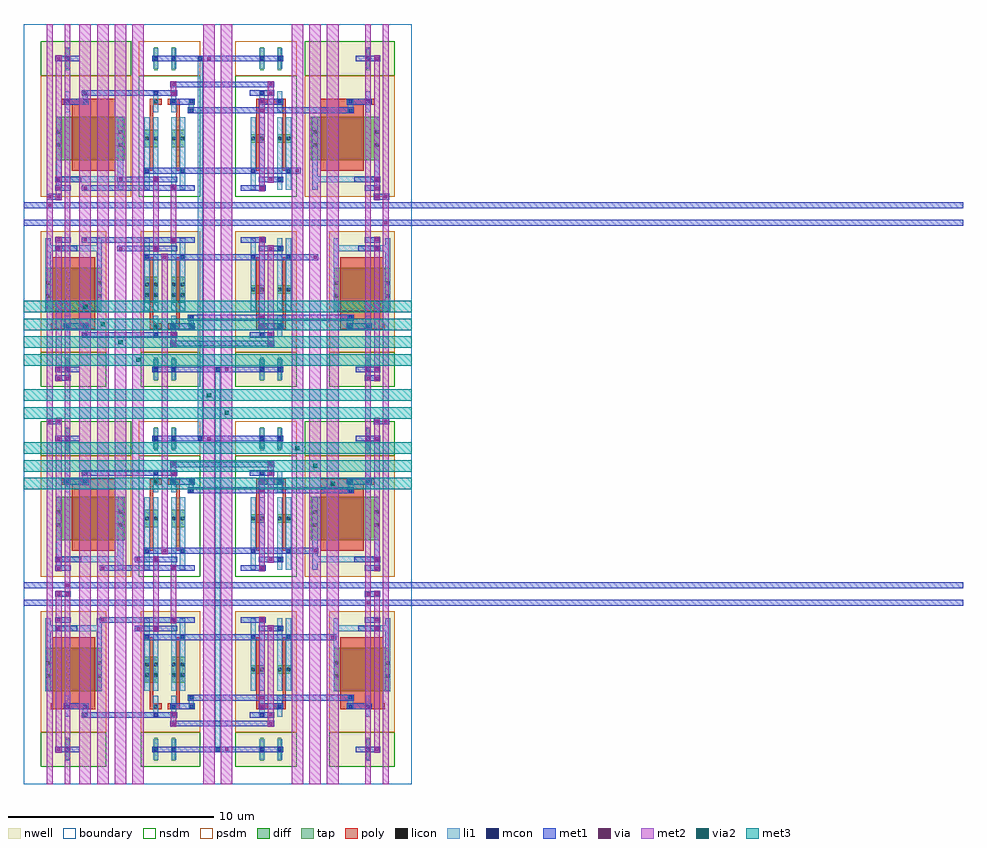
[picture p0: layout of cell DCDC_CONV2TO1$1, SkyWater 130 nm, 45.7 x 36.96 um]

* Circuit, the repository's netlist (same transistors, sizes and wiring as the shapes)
* 2:1 stage: PMOS SWITCH
.subckt DCDC_XSW_PMOS VPB clk clkb vIN vOUT0 vOUT1
x0 int_sw0 int_sw1 vIN VPB sky130_fd_pr__pfet_01v8 w=420000u l=150000u
x1 int_sw1 int_sw0 vIN VPB sky130_fd_pr__pfet_01v8 w=420000u l=150000u
x2 vOUT0 int_sw0 vIN VPB sky130_fd_pr__pfet_01v8 w=1260000u l=150000u
x3 vOUT1 int_sw1 vIN VPB sky130_fd_pr__pfet_01v8 w=1260000u l=150000u
x4 clkb int_sw0 clkb clkb sky130_fd_pr__pfet_01v8 w=2100000u l=2100000u
x5 clk int_sw1 clk clk sky130_fd_pr__pfet_01v8 w=2100000u l=2100000u
.ends DCDC_XSW_PMOS

* 2:1 stage: NMOS SWITCH
.subckt DCDC_XSW_NMOS VNB clk clkb vIN vOUT0 vOUT1
x0 int_sw0 int_sw1 vIN VNB sky130_fd_pr__nfet_01v8 w=420000u l=150000u
x1 int_sw1 int_sw0 vIN VNB sky130_fd_pr__nfet_01v8 w=420000u l=150000u
x2 vOUT0 int_sw0 vIN VNB sky130_fd_pr__nfet_01v8 w=840000u l=150000u
x3 vOUT1 int_sw1 vIN VNB sky130_fd_pr__nfet_01v8 w=840000u l=150000u
x4 clkb int_sw0 clkb clkb sky130_fd_pr__pfet_01v8 w=2100000u l=2100000u
x5 clk int_sw1 clk clk sky130_fd_pr__pfet_01v8 w=2100000u l=2100000u
.ends DCDC_XSW_NMOS

*2:1 converter: DCDC_HUNIT_CONV2to1
.subckt DCDC_HUNIT_CONV2to1 VGND VPWR clk0 clk0b clk1 clk1b y0 y1 vhigh vlow
x0 VPWR clk1b clk0b vhigh y0 y1 DCDC_XSW_PMOS
x1 VGND clk0 clk1 vlow y0 y1 DCDC_XSW_NMOS
.ends DCDC_HUNIT_CONV2to1

*2:1 converter: DCDC_CONV2TO1
.subckt DCDC_CONV2TO1 VGND VPWR clk0 clk0b clk1 clk1b y0_top y1_top y0_bot y1_bot vhigh vmid vlow
x0 VGND VPWR clk0 clk0b clk1 clk1b y0_top y1_top vhigh vmid DCDC_HUNIT_CONV2to1
x1 VGND VPWR clk0 clk0b clk1 clk1b y0_bot y1_bot vmid vlow DCDC_HUNIT_CONV2to1
.ends DCDC_CONV2TO1

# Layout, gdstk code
from math import pi, radians
import gdstk
lib = gdstk.Library(unit=1e-6, precision=1e-09)
def R(c, l, rs):  # rectangles x0, y0, x1, y1
    for r in rs: c.add(gdstk.rectangle(r[:2], r[2:], *l))
def A(c, l, x, y, w, h, nx, ny, dx, dy):  # array of equal rectangles
    R(c, l, [(x+i*dx, y+j*dy, x+i*dx+w, y+j*dy+h) for i in range(nx) for j in range(ny)])
nwell = (64, 20)
diff = (65, 20)
tap = (65, 44)
poly = (66, 20)
licon = (66, 44)
li1 = (67, 20)
mcon = (67, 44)
met1 = (68, 20)
via = (68, 44)
met2 = (69, 20)
via2 = (69, 44)
met3 = (70, 20)
nsdm = (93, 44)
psdm = (94, 20)
boundary = (235, 4)

ccp_pmos_b_88242555_x1__ = lib.new_cell('CCP_PMOS_B_88242555_X1__44b71c81$1')
R(ccp_pmos_b_88242555_x1__, nwell, [(0,0,2.99,7.56)])
R(ccp_pmos_b_88242555_x1__, diff, [(0.735,2.625,1.415,3.045), (2.025,2.625,2.705,3.045)])
R(ccp_pmos_b_88242555_x1__, tap, [(1.205,6.16,1.375,7.28), (2.065,6.16,2.235,7.28)])
R(ccp_pmos_b_88242555_x1__, poly, [(1,1.26,1.15,4.62), (2.29,1.26,2.44,4.62), (1,4.485,1.58,4.755), (1.86,4.485,2.44,4.755)])
R(ccp_pmos_b_88242555_x1__, licon, [(0.775,2.745,0.945,2.915), (1.205,2.745,1.375,2.915), (2.065,2.745,2.235,2.915), (2.495,2.745,2.665,2.915), (1.205,4.535,1.375,4.705), (2.065,4.535,2.235,4.705), (1.205,6.635,1.375,6.805), (2.065,6.635,2.235,6.805)])
R(ccp_pmos_b_88242555_x1__, li1, [(0.735,0.335,0.985,3.865), (1.165,0.335,1.415,3.865), (2.025,0.335,2.275,3.865), (2.455,0.335,2.705,3.865), (1.165,4.115,1.415,5.125), (2.025,4.115,2.275,5.125), (1.165,6.215,1.415,7.225), (2.025,6.215,2.275,7.225)])
R(ccp_pmos_b_88242555_x1__, mcon, [(1.205,0.335,1.375,0.505), (2.065,0.755,2.235,0.925), (0.775,1.175,0.945,1.345), (2.495,1.175,2.665,1.345), (2.065,4.535,2.235,4.705), (1.205,4.955,1.375,5.125), (1.205,6.635,1.375,6.805), (2.065,6.635,2.235,6.805)])
R(ccp_pmos_b_88242555_x1__, met1, [(0.26,0.28,1.46,0.56), (1.12,0.7,2.32,0.98), (0.69,1.12,2.75,1.4), (1.12,4.48,2.32,4.76), (0.69,4.9,1.89,5.18), (1.12,6.58,2.32,6.86)])
R(ccp_pmos_b_88242555_x1__, via, [(1.215,0.345,1.365,0.495), (1.645,0.765,1.795,0.915), (1.215,4.545,1.365,4.695), (1.645,4.965,1.795,5.115)])
R(ccp_pmos_b_88242555_x1__, met2, [(1.15,0.26,1.43,4.78), (1.58,0.68,1.86,5.2)])
R(ccp_pmos_b_88242555_x1__, nsdm, [(0,5.88,2.99,7.56)])
R(ccp_pmos_b_88242555_x1__, psdm, [(0,0,2.99,5.88)])

dp_pmos_b_25364157_x1_y_ = lib.new_cell('DP_PMOS_B_25364157_X1_Y_12b887c0$1')
R(dp_pmos_b_25364157_x1_y_, nwell, [(0,0,2.89,7.56)])
R(dp_pmos_b_25364157_x1_y_, diff, [(0.735,2.205,1.415,3.465), (2.025,2.205,2.705,3.465)])
R(dp_pmos_b_25364157_x1_y_, tap, [(1.205,6.16,1.375,7.28), (2.065,6.16,2.235,7.28)])
R(dp_pmos_b_25364157_x1_y_, poly, [(1,1.26,1.15,4.62), (2.29,1.26,2.44,4.62), (1,4.485,1.58,4.755), (1.86,4.485,2.44,4.755)])
R(dp_pmos_b_25364157_x1_y_, licon, [(0.775,2.515,0.945,2.685), (1.205,2.515,1.375,2.685), (2.065,2.515,2.235,2.685), (2.495,2.515,2.665,2.685), (0.775,3.005,0.945,3.175), (1.205,3.005,1.375,3.175), (2.065,3.005,2.235,3.175), (2.495,3.005,2.665,3.175), (1.205,4.535,1.375,4.705), (2.065,4.535,2.235,4.705), (1.205,6.635,1.375,6.805), (2.065,6.635,2.235,6.805)])
R(dp_pmos_b_25364157_x1_y_, li1, [(0.735,0.335,0.985,3.865), (1.165,0.335,1.415,3.865), (2.025,0.335,2.275,3.865), (2.455,0.335,2.705,3.865), (1.165,4.115,1.415,5.125), (2.025,4.115,2.275,5.125), (1.165,6.215,1.415,7.225), (2.025,6.215,2.275,7.225)])
R(dp_pmos_b_25364157_x1_y_, mcon, [(1.205,0.335,1.375,0.505), (2.065,0.755,2.235,0.925), (0.775,1.175,0.945,1.345), (2.495,1.175,2.665,1.345), (1.205,4.535,1.375,4.705), (2.065,4.955,2.235,5.125), (1.205,6.635,1.375,6.805), (2.065,6.635,2.235,6.805)])
R(dp_pmos_b_25364157_x1_y_, met1, [(0.26,0.28,1.46,0.56), (1.12,0.7,2.32,0.98), (0.69,1.12,2.75,1.4), (0.26,4.48,1.46,4.76), (1.12,4.9,2.32,5.18), (1.12,6.58,2.32,6.86)])
R(dp_pmos_b_25364157_x1_y_, nsdm, [(0,5.88,2.89,7.56)])
R(dp_pmos_b_25364157_x1_y_, psdm, [(0,0,2.89,5.88)])

dcap_pmos_98843368_x1_y_ = lib.new_cell('DCAP_PMOS_98843368_X1_Y_f9c0cc87$1')
R(dcap_pmos_98843368_x1_y_, nwell, [(-0.59,0,2.58,7.56)])
R(dcap_pmos_98843368_x1_y_, diff, [(-0.385,1.785,2.365,3.885)])
R(dcap_pmos_98843368_x1_y_, tap, [(1.205,6.16,1.375,7.28)])
R(dcap_pmos_98843368_x1_y_, poly, [(-0.065,1.26,2.035,4.62), (-0.06,4.485,2.1,4.755)])
R(dcap_pmos_98843368_x1_y_, licon, [(-0.335,2.435,-0.165,2.605), (2.155,2.435,2.325,2.605), (-0.335,3.065,-0.165,3.235), (2.155,3.065,2.325,3.235), (1.205,4.535,1.375,4.705), (1.205,6.635,1.375,6.805)])
R(dcap_pmos_98843368_x1_y_, li1, [(-0.385,0.335,-0.135,3.865), (2.115,0.335,2.365,3.865), (1.165,4.115,1.415,5.125), (1.165,6.215,1.415,7.225)])
R(dcap_pmos_98843368_x1_y_, mcon, [(1.635,0.755,1.805,0.925), (1.205,4.535,1.375,4.705), (1.205,6.635,1.375,6.805)])
R(dcap_pmos_98843368_x1_y_, met1, [(1.12,0.28,1.89,0.56), (0.82,0.7,1.89,0.98), (0.26,4.48,1.46,4.76), (0.69,6.58,1.89,6.86)])
R(dcap_pmos_98843368_x1_y_, via, [(1.645,0.345,1.795,0.495), (1.645,0.765,1.795,0.915), (1.645,6.645,1.795,6.795)])
R(dcap_pmos_98843368_x1_y_, met2, [(1.58,0.26,1.86,6.88)])
R(dcap_pmos_98843368_x1_y_, nsdm, [(-0.59,5.88,2.58,7.56)])
R(dcap_pmos_98843368_x1_y_, psdm, [(-0.59,0,2.58,5.88)])
dcap_pmos_98843368_x1_y_.add(gdstk.FlexPath([(-0.38,0.83),(2.37,0.83)], 0.28, ends="flush", simple_path=True, layer=67, datatype=20))  # li1

dcdc_xsw_pmos_0_1650326_ = lib.new_cell('DCDC_XSW_PMOS_0_1650326_40a43b21$1')
R(dcdc_xsw_pmos_0_1650326_, li1, [(7.185,4.115,7.435,4.285), (7.185,4.115,7.435,4.285), (7.185,4.115,7.435,4.285), (14.925,4.115,15.175,4.285), (14.925,4.115,15.175,4.285), (7.185,4.2,7.435,4.62), (14.925,4.2,15.175,4.62), (2.025,4.535,2.275,4.705), (2.025,4.535,2.275,4.705), (7.185,4.535,7.435,4.705), (7.185,4.535,7.435,4.705), (7.185,4.535,7.435,4.705), (14.925,4.535,15.175,4.705), (14.925,4.535,15.175,4.705), (2.025,4.62,2.275,5.04), (2.025,4.955,2.275,5.125), (2.025,4.955,2.275,5.125)])
R(dcdc_xsw_pmos_0_1650326_, mcon, [(7.225,4.115,7.395,4.285), (7.225,4.115,7.395,4.285), (7.225,4.115,7.395,4.285), (14.965,4.115,15.135,4.285), (14.965,4.115,15.135,4.285), (2.065,4.535,2.235,4.705), (2.065,4.535,2.235,4.705), (7.225,4.535,7.395,4.705), (7.225,4.535,7.395,4.705), (7.225,4.535,7.395,4.705), (14.965,4.535,15.135,4.705), (14.965,4.535,15.135,4.705), (2.065,4.955,2.235,5.125), (2.065,4.955,2.235,5.125)])
R(dcdc_xsw_pmos_0_1650326_, met1, [(6.88,1.12,10.32,1.4), (7.14,4.06,7.48,4.34), (7.14,4.06,7.48,4.34), (7.14,4.06,7.48,4.34), (7.31,4.06,10.75,4.34), (10.59,4.06,10.91,4.34), (10.59,4.06,10.91,4.34), (10.59,4.06,10.91,4.34), (10.75,4.06,15.05,4.34), (14.88,4.06,15.22,4.34), (14.88,4.06,15.22,4.34), (1.98,4.48,2.32,4.76), (1.98,4.48,2.32,4.76), (7.14,4.48,7.48,4.76), (7.14,4.48,7.48,4.76), (7.14,4.48,7.48,4.76), (14.88,4.48,15.22,4.76), (14.88,4.48,15.22,4.76), (1.98,4.9,2.32,5.18), (1.98,4.9,2.32,5.18), (2.15,4.9,5.59,5.18), (6.29,4.9,6.61,5.18), (6.29,4.9,6.61,5.18), (6.29,4.9,6.61,5.18), (6.29,5.32,6.61,5.6), (6.29,5.32,6.61,5.6), (6.29,5.32,6.61,5.6), (6.45,5.32,11.18,5.6), (11.02,5.32,11.34,5.6), (11.02,5.32,11.34,5.6), (11.02,5.32,11.34,5.6), (6.45,6.58,10.75,6.86)])
R(dcdc_xsw_pmos_0_1650326_, via, [(10.675,4.125,10.825,4.275), (10.675,4.125,10.825,4.275), (10.675,4.125,10.825,4.275), (6.375,4.965,6.525,5.115), (6.375,4.965,6.525,5.115), (6.375,4.965,6.525,5.115), (6.375,5.385,6.525,5.535), (6.375,5.385,6.525,5.535), (6.375,5.385,6.525,5.535), (11.105,5.385,11.255,5.535), (11.105,5.385,11.255,5.535), (11.105,5.385,11.255,5.535)])
R(dcdc_xsw_pmos_0_1650326_, met2, [(10.61,4.04,10.89,4.36), (10.61,4.04,10.89,4.36), (10.61,4.04,10.89,4.36), (6.31,4.88,6.59,5.2), (6.31,4.88,6.59,5.2), (6.31,4.88,6.59,5.2), (6.31,5.04,6.59,5.46), (11.04,5.04,11.32,5.46), (6.31,5.3,6.59,5.62), (6.31,5.3,6.59,5.62), (6.31,5.3,6.59,5.62), (11.04,5.3,11.32,5.62), (11.04,5.3,11.32,5.62), (11.04,5.3,11.32,5.62)])
dcdc_xsw_pmos_0_1650326_.add(gdstk.Reference(ccp_pmos_b_88242555_x1__, (9.46,0)))
dcdc_xsw_pmos_0_1650326_.add(gdstk.Reference(dp_pmos_b_25364157_x1_y_, (7.74,0), rotation=pi, x_reflection=True))
dcdc_xsw_pmos_0_1650326_.add(gdstk.Reference(dcap_pmos_98843368_x1_y_, (14.62,0)))
dcdc_xsw_pmos_0_1650326_.add(gdstk.Reference(dcap_pmos_98843368_x1_y_, (2.58,0), rotation=pi, x_reflection=True))

ccp_nmos_b_82699349_x1__ = lib.new_cell('CCP_NMOS_B_82699349_X1__3a37f603$1')
R(ccp_nmos_b_82699349_x1__, diff, [(0.735,2.625,1.415,3.045), (2.025,2.625,2.705,3.045)])
R(ccp_nmos_b_82699349_x1__, tap, [(1.205,6.16,1.375,7.28), (2.065,6.16,2.235,7.28)])
R(ccp_nmos_b_82699349_x1__, poly, [(1,1.26,1.15,4.62), (2.29,1.26,2.44,4.62), (1,4.485,1.58,4.755), (1.86,4.485,2.44,4.755)])
R(ccp_nmos_b_82699349_x1__, licon, [(0.775,2.745,0.945,2.915), (0.775,2.745,0.945,2.915), (1.205,2.745,1.375,2.915), (2.065,2.745,2.235,2.915), (2.495,2.745,2.665,2.915), (1.205,4.535,1.375,4.705), (2.065,4.535,2.235,4.705), (1.205,6.635,1.375,6.805), (2.065,6.635,2.235,6.805)])
R(ccp_nmos_b_82699349_x1__, li1, [(0.735,0.335,0.985,3.865), (1.165,0.335,1.415,3.865), (2.025,0.335,2.275,3.865), (2.455,0.335,2.705,3.865), (1.165,4.115,1.415,5.125), (2.025,4.115,2.275,5.125), (1.165,6.215,1.415,7.225), (2.025,6.215,2.275,7.225)])
R(ccp_nmos_b_82699349_x1__, mcon, [(1.205,0.335,1.375,0.505), (2.065,0.755,2.235,0.925), (0.775,1.175,0.945,1.345), (2.495,1.175,2.665,1.345), (2.065,4.535,2.235,4.705), (1.205,4.955,1.375,5.125), (1.205,6.635,1.375,6.805), (2.065,6.635,2.235,6.805)])
R(ccp_nmos_b_82699349_x1__, met1, [(0.26,0.28,1.46,0.56), (1.12,0.7,2.32,0.98), (0.69,1.12,2.75,1.4), (1.12,4.48,2.32,4.76), (0.69,4.9,1.89,5.18), (1.12,6.58,2.32,6.86)])
R(ccp_nmos_b_82699349_x1__, via, [(1.215,0.345,1.365,0.495), (1.645,0.765,1.795,0.915), (1.215,4.545,1.365,4.695), (1.645,4.965,1.795,5.115)])
R(ccp_nmos_b_82699349_x1__, met2, [(1.15,0.26,1.43,4.78), (1.58,0.68,1.86,5.2)])
R(ccp_nmos_b_82699349_x1__, nsdm, [(0,0,2.98,5.88)])
R(ccp_nmos_b_82699349_x1__, psdm, [(0,5.88,2.98,7.56)])

dp_nmos_b_83449181_x1_y_ = lib.new_cell('DP_NMOS_B_83449181_X1_Y_edeae765$1')
R(dp_nmos_b_83449181_x1_y_, diff, [(0.735,2.415,1.415,3.255), (2.025,2.415,2.705,3.255)])
R(dp_nmos_b_83449181_x1_y_, tap, [(1.205,6.16,1.375,7.28), (2.065,6.16,2.235,7.28)])
R(dp_nmos_b_83449181_x1_y_, poly, [(1,1.26,1.15,4.62), (2.29,1.26,2.44,4.62), (1,4.485,1.58,4.755), (1.86,4.485,2.44,4.755)])
R(dp_nmos_b_83449181_x1_y_, licon, [(0.775,2.745,0.945,2.915), (1.205,2.745,1.375,2.915), (2.065,2.745,2.235,2.915), (2.495,2.745,2.665,2.915), (1.205,4.535,1.375,4.705), (2.065,4.535,2.235,4.705), (1.205,6.635,1.375,6.805), (2.065,6.635,2.235,6.805)])
R(dp_nmos_b_83449181_x1_y_, li1, [(0.735,0.335,0.985,3.865), (1.165,0.335,1.415,3.865), (2.025,0.335,2.275,3.865), (2.455,0.335,2.705,3.865), (1.165,4.115,1.415,5.125), (2.025,4.115,2.275,5.125), (1.165,6.215,1.415,7.225), (2.025,6.215,2.275,7.225)])
R(dp_nmos_b_83449181_x1_y_, mcon, [(1.205,0.335,1.375,0.505), (2.065,0.755,2.235,0.925), (0.775,1.175,0.945,1.345), (2.495,1.175,2.665,1.345), (1.205,4.535,1.375,4.705), (2.065,4.955,2.235,5.125), (1.205,6.635,1.375,6.805), (2.065,6.635,2.235,6.805)])
R(dp_nmos_b_83449181_x1_y_, met1, [(0.26,0.28,1.46,0.56), (1.12,0.7,2.32,0.98), (0.69,1.12,2.75,1.4), (0.26,4.48,1.46,4.76), (1.12,4.9,2.32,5.18), (1.12,6.58,2.32,6.86)])
R(dp_nmos_b_83449181_x1_y_, nsdm, [(0,0,2.98,5.88)])
R(dp_nmos_b_83449181_x1_y_, psdm, [(0,5.88,2.98,7.56)])

c_dcap_pmos_98843368_x1_y_ = lib.new_cell('DCAP_PMOS_98843368_X1_Y_1407ea6c$1')
R(c_dcap_pmos_98843368_x1_y_, nwell, [(-1.8,0,2.58,7.56)])
R(c_dcap_pmos_98843368_x1_y_, diff, [(-1.505,1.785,1.845,3.885)])
R(c_dcap_pmos_98843368_x1_y_, tap, [(1.205,6.16,1.375,7.28)])
R(c_dcap_pmos_98843368_x1_y_, poly, [(-1.025,1.26,1.075,4.62), (-1.03,4.485,1.58,4.755)])
R(c_dcap_pmos_98843368_x1_y_, licon, [(-1.375,2.435,-1.205,2.605), (1.635,2.435,1.805,2.605), (-1.375,3.065,-1.205,3.235), (1.635,3.065,1.805,3.235), (1.205,4.535,1.375,4.705), (1.205,6.635,1.375,6.805)])
R(c_dcap_pmos_98843368_x1_y_, li1, [(-1.415,0.335,-1.165,3.865), (1.595,0.335,1.845,3.865), (1.165,4.115,1.415,5.125), (1.165,6.215,1.415,7.225)])
R(c_dcap_pmos_98843368_x1_y_, mcon, [(1.635,0.755,1.805,0.925), (1.205,4.535,1.375,4.705), (1.205,6.635,1.375,6.805)])
R(c_dcap_pmos_98843368_x1_y_, met1, [(1.12,0.28,1.89,0.56), (0.61,0.7,1.89,0.98), (0.26,4.48,1.46,4.76), (0.69,6.58,1.89,6.86)])
R(c_dcap_pmos_98843368_x1_y_, via, [(1.645,0.345,1.795,0.495), (1.645,0.765,1.795,0.915), (1.645,6.645,1.795,6.795)])
R(c_dcap_pmos_98843368_x1_y_, met2, [(1.58,0.26,1.86,6.88)])
R(c_dcap_pmos_98843368_x1_y_, nsdm, [(-1.8,5.88,2.58,7.56)])
R(c_dcap_pmos_98843368_x1_y_, psdm, [(-1.8,0,2.58,5.88)])
c_dcap_pmos_98843368_x1_y_.add(gdstk.FlexPath([(-1.25,0.85),(1.84,0.85)], 0.28, ends="flush", simple_path=True, layer=67, datatype=20))  # li1

dcdc_xsw_nmos_0_1650326_ = lib.new_cell('DCDC_XSW_NMOS_0_1650326_24c8b01c$1')
R(dcdc_xsw_nmos_0_1650326_, li1, [(7.185,4.115,7.435,4.285), (7.185,4.115,7.435,4.285), (7.185,4.115,7.435,4.285), (14.925,4.115,15.175,4.285), (14.925,4.115,15.175,4.285), (7.185,4.2,7.435,4.62), (14.925,4.2,15.175,4.62), (2.025,4.535,2.275,4.705), (2.025,4.535,2.275,4.705), (7.185,4.535,7.435,4.705), (7.185,4.535,7.435,4.705), (7.185,4.535,7.435,4.705), (14.925,4.535,15.175,4.705), (14.925,4.535,15.175,4.705), (2.025,4.62,2.275,5.04), (2.025,4.955,2.275,5.125), (2.025,4.955,2.275,5.125)])
R(dcdc_xsw_nmos_0_1650326_, mcon, [(7.225,4.115,7.395,4.285), (7.225,4.115,7.395,4.285), (7.225,4.115,7.395,4.285), (14.965,4.115,15.135,4.285), (14.965,4.115,15.135,4.285), (2.065,4.535,2.235,4.705), (2.065,4.535,2.235,4.705), (7.225,4.535,7.395,4.705), (7.225,4.535,7.395,4.705), (7.225,4.535,7.395,4.705), (14.965,4.535,15.135,4.705), (14.965,4.535,15.135,4.705), (2.065,4.955,2.235,5.125), (2.065,4.955,2.235,5.125)])
R(dcdc_xsw_nmos_0_1650326_, met1, [(6.88,1.12,10.32,1.4), (7.14,4.06,7.48,4.34), (7.14,4.06,7.48,4.34), (7.14,4.06,7.48,4.34), (7.31,4.06,10.75,4.34), (10.59,4.06,10.91,4.34), (10.59,4.06,10.91,4.34), (10.59,4.06,10.91,4.34), (10.75,4.06,15.05,4.34), (14.88,4.06,15.22,4.34), (14.88,4.06,15.22,4.34), (1.98,4.48,2.32,4.76), (1.98,4.48,2.32,4.76), (7.14,4.48,7.48,4.76), (7.14,4.48,7.48,4.76), (7.14,4.48,7.48,4.76), (14.88,4.48,15.22,4.76), (14.88,4.48,15.22,4.76), (1.98,4.9,2.32,5.18), (1.98,4.9,2.32,5.18), (2.15,4.9,5.59,5.18), (6.29,4.9,6.61,5.18), (6.29,4.9,6.61,5.18), (6.29,4.9,6.61,5.18), (6.29,5.32,6.61,5.6), (6.29,5.32,6.61,5.6), (6.29,5.32,6.61,5.6), (6.45,5.32,11.18,5.6), (11.02,5.32,11.34,5.6), (11.02,5.32,11.34,5.6), (11.02,5.32,11.34,5.6), (6.45,6.58,10.75,6.86)])
R(dcdc_xsw_nmos_0_1650326_, via, [(10.675,4.125,10.825,4.275), (10.675,4.125,10.825,4.275), (10.675,4.125,10.825,4.275), (6.375,4.965,6.525,5.115), (6.375,4.965,6.525,5.115), (6.375,4.965,6.525,5.115), (6.375,5.385,6.525,5.535), (6.375,5.385,6.525,5.535), (6.375,5.385,6.525,5.535), (11.105,5.385,11.255,5.535), (11.105,5.385,11.255,5.535), (11.105,5.385,11.255,5.535)])
R(dcdc_xsw_nmos_0_1650326_, met2, [(10.61,4.04,10.89,4.36), (10.61,4.04,10.89,4.36), (10.61,4.04,10.89,4.36), (6.31,4.88,6.59,5.2), (6.31,4.88,6.59,5.2), (6.31,4.88,6.59,5.2), (6.31,5.04,6.59,5.46), (11.04,5.04,11.32,5.46), (6.31,5.3,6.59,5.62), (6.31,5.3,6.59,5.62), (6.31,5.3,6.59,5.62), (11.04,5.3,11.32,5.62), (11.04,5.3,11.32,5.62), (11.04,5.3,11.32,5.62)])
dcdc_xsw_nmos_0_1650326_.add(gdstk.Reference(ccp_nmos_b_82699349_x1__, (9.46,0)))
dcdc_xsw_nmos_0_1650326_.add(gdstk.Reference(dp_nmos_b_83449181_x1_y_, (7.74,0), rotation=pi, x_reflection=True))
dcdc_xsw_nmos_0_1650326_.add(gdstk.Reference(c_dcap_pmos_98843368_x1_y_, (14.62,0)))
dcdc_xsw_nmos_0_1650326_.add(gdstk.Reference(c_dcap_pmos_98843368_x1_y_, (2.58,0), rotation=pi, x_reflection=True))

dcdc_hunit_conv2to1_0_1_ = lib.new_cell('DCDC_HUNIT_CONV2TO1_0_1_73a3675f$1')
R(dcdc_hunit_conv2to1_0_1_, met1, [(5.43,6.58,5.75,6.86), (5.43,6.58,5.75,6.86), (6.29,7,6.61,7.28), (6.29,7,6.61,7.28), (6.29,9.52,6.61,9.8), (6.29,9.52,6.61,9.8), (5.43,9.94,5.75,10.22), (5.43,9.94,5.75,10.22)])
R(dcdc_hunit_conv2to1_0_1_, via, [(5.515,6.645,5.665,6.795), (5.515,6.645,5.665,6.795), (6.375,7.065,6.525,7.215), (6.375,7.065,6.525,7.215), (6.375,9.585,6.525,9.735), (6.375,9.585,6.525,9.735), (5.515,10.005,5.665,10.155), (5.515,10.005,5.665,10.155)])
R(dcdc_hunit_conv2to1_0_1_, met2, [(5.45,6.56,5.73,6.88), (5.45,6.56,5.73,6.88), (5.45,6.72,5.73,10.08), (6.31,6.98,6.59,7.3), (6.31,6.98,6.59,7.3), (6.31,7.14,6.59,9.66), (6.31,9.5,6.59,9.82), (6.31,9.5,6.59,9.82), (5.45,9.92,5.73,10.24), (5.45,9.92,5.73,10.24)])
dcdc_hunit_conv2to1_0_1_.add(gdstk.Reference(dcdc_xsw_pmos_0_1650326_, (0,7.56), x_reflection=True))
dcdc_hunit_conv2to1_0_1_.add(gdstk.Reference(dcdc_xsw_nmos_0_1650326_, (0,9.24)))

dcdc_conv2to1_0_16503260 = lib.new_cell('DCDC_CONV2TO1_0_1650326046$1')
R(dcdc_conv2to1_0_16503260, li1, [(8.475,0.755,8.725,0.925), (8.475,0.755,8.725,0.925), (8.475,0.84,8.725,19.32), (7.615,15.875,7.865,16.045), (7.615,15.875,7.865,16.045), (7.615,15.96,7.865,34.44), (8.475,19.235,8.725,19.405), (8.475,19.235,8.725,19.405), (7.615,34.355,7.865,34.525), (7.615,34.355,7.865,34.525)])
R(dcdc_conv2to1_0_16503260, mcon, [(8.515,0.755,8.685,0.925), (8.515,0.755,8.685,0.925), (7.655,15.875,7.825,16.045), (7.655,15.875,7.825,16.045), (8.515,19.235,8.685,19.405), (8.515,19.235,8.685,19.405), (7.655,34.355,7.825,34.525), (7.655,34.355,7.825,34.525)])
R(dcdc_conv2to1_0_16503260, met1, [(8.43,0.7,8.77,0.98), (8.43,0.7,8.77,0.98), (0.7,8.26,1.02,8.54), (0.7,8.26,1.02,8.54), (0.86,8.26,1.29,8.54), (1.13,8.26,1.45,8.54), (1.13,8.26,1.45,8.54), (15.75,8.26,16.07,8.54), (15.75,8.26,16.07,8.54), (15.91,8.26,16.34,8.54), (16.18,8.26,16.5,8.54), (16.18,8.26,16.5,8.54), (5.86,10.36,6.18,10.64), (5.86,10.36,6.18,10.64), (7.57,15.82,7.91,16.1), (7.57,15.82,7.91,16.1), (0.27,16.66,0.59,16.94), (0.27,16.66,0.59,16.94), (0.43,16.66,0.86,16.94), (0.7,16.66,1.02,16.94), (0.7,16.66,1.02,16.94), (16.18,16.66,16.5,16.94), (16.18,16.66,16.5,16.94), (16.34,16.66,16.77,16.94), (16.61,16.66,16.93,16.94), (16.61,16.66,16.93,16.94), (0.7,18.76,1.02,19.04), (0.7,18.76,1.02,19.04), (0.86,18.76,1.29,19.04), (1.13,18.76,1.45,19.04), (1.13,18.76,1.45,19.04), (15.75,18.76,16.07,19.04), (15.75,18.76,16.07,19.04), (15.91,18.76,16.34,19.04), (16.18,18.76,16.5,19.04), (16.18,18.76,16.5,19.04), (8.43,19.18,8.77,19.46), (8.43,19.18,8.77,19.46), (5.86,24.64,6.18,24.92), (5.86,24.64,6.18,24.92), (0.27,27.58,0.59,27.86), (0.27,27.58,0.59,27.86), (0.43,27.58,0.86,27.86), (0.7,27.58,1.02,27.86), (0.7,27.58,1.02,27.86), (16.18,27.58,16.5,27.86), (16.18,27.58,16.5,27.86), (16.34,27.58,16.77,27.86), (16.61,27.58,16.93,27.86), (16.61,27.58,16.93,27.86), (7.57,34.3,7.91,34.58), (7.57,34.3,7.91,34.58)])
R(dcdc_conv2to1_0_16503260, via, [(0.785,8.325,0.935,8.475), (0.785,8.325,0.935,8.475), (1.215,8.325,1.365,8.475), (1.215,8.325,1.365,8.475), (15.835,8.325,15.985,8.475), (15.835,8.325,15.985,8.475), (16.265,8.325,16.415,8.475), (16.265,8.325,16.415,8.475), (5.945,10.425,6.095,10.575), (5.945,10.425,6.095,10.575), (0.355,16.725,0.505,16.875), (0.355,16.725,0.505,16.875), (0.785,16.725,0.935,16.875), (0.785,16.725,0.935,16.875), (16.265,16.725,16.415,16.875), (16.265,16.725,16.415,16.875), (16.695,16.725,16.845,16.875), (16.695,16.725,16.845,16.875), (0.785,18.825,0.935,18.975), (0.785,18.825,0.935,18.975), (1.215,18.825,1.365,18.975), (1.215,18.825,1.365,18.975), (15.835,18.825,15.985,18.975), (15.835,18.825,15.985,18.975), (16.265,18.825,16.415,18.975), (16.265,18.825,16.415,18.975), (5.945,24.705,6.095,24.855), (5.945,24.705,6.095,24.855), (0.355,27.645,0.505,27.795), (0.355,27.645,0.505,27.795), (0.785,27.645,0.935,27.795), (0.785,27.645,0.935,27.795), (16.265,27.645,16.415,27.795), (16.265,27.645,16.415,27.795), (16.695,27.645,16.845,27.795), (16.695,27.645,16.845,27.795)])
R(dcdc_conv2to1_0_16503260, met2, [(0.72,7.14,1,8.4), (16.2,7.14,16.48,8.4), (0.72,8.24,1,8.56), (0.72,8.24,1,8.56), (1.15,8.24,1.43,8.56), (1.15,8.24,1.43,8.56), (15.77,8.24,16.05,8.56), (15.77,8.24,16.05,8.56), (16.2,8.24,16.48,8.56), (16.2,8.24,16.48,8.56), (1.15,8.4,1.43,18.9), (15.77,8.4,16.05,18.9), (5.88,10.34,6.16,10.66), (5.88,10.34,6.16,10.66), (5.88,10.5,6.16,24.78), (0.72,15.96,1,16.8), (16.2,15.96,16.48,16.8), (0.29,16.64,0.57,16.96), (0.29,16.64,0.57,16.96), (0.72,16.64,1,16.96), (0.72,16.64,1,16.96), (16.2,16.64,16.48,16.96), (16.2,16.64,16.48,16.96), (16.63,16.64,16.91,16.96), (16.63,16.64,16.91,16.96), (0.29,16.8,0.57,27.72), (16.63,16.8,16.91,27.72), (0.72,18.74,1,19.06), (0.72,18.74,1,19.06), (1.15,18.74,1.43,19.06), (1.15,18.74,1.43,19.06), (15.77,18.74,16.05,19.06), (15.77,18.74,16.05,19.06), (16.2,18.74,16.48,19.06), (16.2,18.74,16.48,19.06), (0.72,18.9,1,19.32), (16.2,18.9,16.48,19.32), (5.88,24.62,6.16,24.94), (5.88,24.62,6.16,24.94), (0.29,27.56,0.57,27.88), (0.29,27.56,0.57,27.88), (0.72,27.56,1,27.88), (0.72,27.56,1,27.88), (16.2,27.56,16.48,27.88), (16.2,27.56,16.48,27.88), (16.63,27.56,16.91,27.88), (16.63,27.56,16.91,27.88), (0.72,27.72,1,28.14), (16.2,27.72,16.48,28.14)])
dcdc_conv2to1_0_16503260.add(gdstk.Reference(dcdc_hunit_conv2to1_0_1_, (0,0)))
dcdc_conv2to1_0_16503260.add(gdstk.Reference(dcdc_hunit_conv2to1_0_1_, (0,18.48)))

conv21_0_1 = lib.new_cell('CONV21_0$1')
conv21_0_1.add(gdstk.Reference(dcdc_conv2to1_0_16503260, (0,0)))

dcdc_conv2to1_1 = lib.new_cell('DCDC_CONV2TO1$1')
R(dcdc_conv2to1_1, met1, [(9.71,1.54,10.03,1.82), (9.71,1.54,10.03,1.82), (9.71,1.54,10.03,1.82), (13.05,7,15.19,7.28), (14.87,7,15.19,7.28), (14.87,7,15.19,7.28), (5.41,7.42,6.26,7.7), (5.41,7.42,5.73,7.7), (5.41,7.42,5.73,7.7), (3.69,7.84,4.01,8.12), (3.69,7.84,4.01,8.12), (3.69,7.84,7.12,8.12), (0,8.68,45.695,8.96), (16.59,8.68,16.91,8.96), (16.59,8.68,16.91,8.96), (0,9.52,45.695,9.8), (1.97,9.52,2.29,9.8), (1.97,9.52,2.29,9.8), (3.69,10.36,4.01,10.64), (3.69,10.36,4.01,10.64), (3.69,10.36,7.12,10.64), (5.41,10.78,6.26,11.06), (5.41,10.78,5.73,11.06), (5.41,10.78,5.73,11.06), (12.19,11.2,14.33,11.48), (14.01,11.2,14.33,11.48), (14.01,11.2,14.33,11.48), (8.85,16.66,9.17,16.94), (8.85,16.66,9.17,16.94), (8.85,16.66,9.17,16.94), (9.71,20.02,10.03,20.3), (9.71,20.02,10.03,20.3), (9.71,20.02,10.03,20.3), (12.19,25.48,14.33,25.76), (14.01,25.48,14.33,25.76), (14.01,25.48,14.33,25.76), (4.55,25.9,4.87,26.18), (4.55,25.9,4.87,26.18), (4.55,25.9,6.26,26.18), (2.83,26.32,3.15,26.6), (2.83,26.32,3.15,26.6), (2.83,26.32,3.15,26.6), (2.83,26.32,3.15,26.6), (2.83,26.32,4.54,26.6), (2.83,26.32,7.12,26.6), (0,27.16,17.61,27.44), (17.45,27.16,17.77,27.44), (17.45,27.16,45.695,27.44), (0,28,1.43,28.28), (1.11,28,1.43,28.28), (1.27,28,45.695,28.28), (2.83,28.84,3.15,29.12), (2.83,28.84,3.15,29.12), (2.83,28.84,3.15,29.12), (2.83,28.84,3.15,29.12), (2.83,28.84,4.54,29.12), (2.83,28.84,7.12,29.12), (4.55,29.26,4.87,29.54), (4.55,29.26,4.87,29.54), (4.55,29.26,4.87,29.54), (4.55,29.26,4.87,29.54), (4.55,29.26,6.26,29.54), (4.55,29.26,6.26,29.54), (13.05,29.68,13.47,29.96), (13.15,29.68,13.47,29.96), (13.15,29.68,13.47,29.96), (8.85,35.14,9.17,35.42), (8.85,35.14,9.17,35.42), (8.85,35.14,9.17,35.42)])
R(dcdc_conv2to1_1, via, [(9.795,1.605,9.945,1.755), (9.795,1.605,9.945,1.755), (9.795,1.605,9.945,1.755), (14.955,7.065,15.105,7.215), (14.955,7.065,15.105,7.215), (5.495,7.485,5.645,7.635), (5.495,7.485,5.645,7.635), (3.775,7.905,3.925,8.055), (3.775,7.905,3.925,8.055), (16.675,8.745,16.825,8.895), (16.675,8.745,16.825,8.895), (2.055,9.585,2.205,9.735), (2.055,9.585,2.205,9.735), (3.775,10.425,3.925,10.575), (3.775,10.425,3.925,10.575), (5.495,10.845,5.645,10.995), (5.495,10.845,5.645,10.995), (14.095,11.265,14.245,11.415), (14.095,11.265,14.245,11.415), (8.935,16.725,9.085,16.875), (8.935,16.725,9.085,16.875), (8.935,16.725,9.085,16.875), (9.795,20.085,9.945,20.235), (9.795,20.085,9.945,20.235), (9.795,20.085,9.945,20.235), (14.095,25.545,14.245,25.695), (14.095,25.545,14.245,25.695), (4.635,25.965,4.785,26.115), (4.635,25.965,4.785,26.115), (2.915,26.385,3.065,26.535), (2.915,26.385,3.065,26.535), (2.915,26.385,3.065,26.535), (2.915,26.385,3.065,26.535), (17.535,27.225,17.685,27.375), (17.535,27.225,17.685,27.375), (1.195,28.065,1.345,28.215), (1.195,28.065,1.345,28.215), (2.915,28.905,3.065,29.055), (2.915,28.905,3.065,29.055), (2.915,28.905,3.065,29.055), (2.915,28.905,3.065,29.055), (4.635,29.325,4.785,29.475), (4.635,29.325,4.785,29.475), (4.635,29.325,4.785,29.475), (4.635,29.325,4.785,29.475), (13.235,29.745,13.385,29.895), (13.235,29.745,13.385,29.895), (8.935,35.205,9.085,35.355), (8.935,35.205,9.085,35.355), (8.935,35.205,9.085,35.355)])
A(dcdc_conv2to1_1, met2, 2.71, 0, 0.56, 36.96, 4, 1, 0.86, 0)
A(dcdc_conv2to1_1, met2, 13.03, 0, 0.56, 36.96, 3, 1, 0.86, 0)
R(dcdc_conv2to1_1, met2, [(1.13,0,1.41,17.48), (1.99,0,2.27,9.08), (8.73,0,9.29,36.96), (9.59,0,10.15,36.96), (16.61,0,16.89,9.08), (17.47,0,17.75,17.48), (9.73,1.52,10.01,1.84), (9.73,1.52,10.01,1.84), (9.73,1.52,10.01,1.84), (14.89,6.98,15.17,7.3), (14.89,6.98,15.17,7.3), (5.43,7.4,5.71,7.72), (5.43,7.4,5.71,7.72), (3.71,7.82,3.99,8.14), (3.71,7.82,3.99,8.14), (16.61,8.66,16.89,8.98), (16.61,8.66,16.89,8.98), (1.99,9.5,2.27,9.82), (1.99,9.5,2.27,9.82), (3.71,10.34,3.99,10.66), (3.71,10.34,3.99,10.66), (5.43,10.76,5.71,11.08), (5.43,10.76,5.71,11.08), (14.03,11.18,14.31,11.5), (14.03,11.18,14.31,11.5), (8.87,16.64,9.15,16.96), (8.87,16.64,9.15,16.96), (8.87,16.64,9.15,16.96), (1.99,19.9,2.27,36.96), (16.61,19.9,16.89,36.96), (9.73,20,10.01,20.32), (9.73,20,10.01,20.32), (9.73,20,10.01,20.32), (14.03,25.46,14.31,25.78), (14.03,25.46,14.31,25.78), (2.85,26.3,3.13,26.62), (2.85,26.3,3.13,26.62), (2.85,26.3,3.13,26.62), (2.85,26.3,3.13,26.62), (17.47,27.14,17.75,27.46), (17.47,27.14,17.75,27.46), (1.13,27.98,1.41,28.3), (1.13,27.98,1.41,28.3), (1.13,28.72,1.41,36.96), (17.47,28.72,17.75,36.96), (2.85,28.82,3.13,29.14), (2.85,28.82,3.13,29.14), (2.85,28.82,3.13,29.14), (2.85,28.82,3.13,29.14), (4.57,29.24,4.85,29.56), (4.57,29.24,4.85,29.56), (4.57,29.24,4.85,29.56), (4.57,29.24,4.85,29.56), (13.17,29.66,13.45,29.98), (13.17,29.66,13.45,29.98), (8.87,35.12,9.15,35.44), (8.87,35.12,9.15,35.44), (8.87,35.12,9.15,35.44)])
R(dcdc_conv2to1_1, via2, [(14.93,14.51,15.13,14.71), (14.07,15.37,14.27,15.57), (13.21,16.23,13.41,16.43), (9.77,17.95,9.97,18.15), (8.91,18.81,9.11,19.01), (5.47,20.53,5.67,20.73), (4.61,21.39,4.81,21.59), (3.75,22.25,3.95,22.45), (2.89,23.11,3.09,23.31)])
A(dcdc_conv2to1_1, met3, 0, 14.33, 18.88, 0.56, 1, 3, 0, 0.86)
A(dcdc_conv2to1_1, met3, 0, 20.35, 18.88, 0.56, 1, 4, 0, 0.86)
R(dcdc_conv2to1_1, met3, [(0,17.77,18.88,18.33), (0,18.63,18.88,19.19)])
R(dcdc_conv2to1_1, boundary, [(0,0,18.88,36.96)])
dcdc_conv2to1_1.add(gdstk.Reference(conv21_0_1, (0.84,0.84)))

lib.write_gds('DCDC_CONV2TO1_1.gds')
